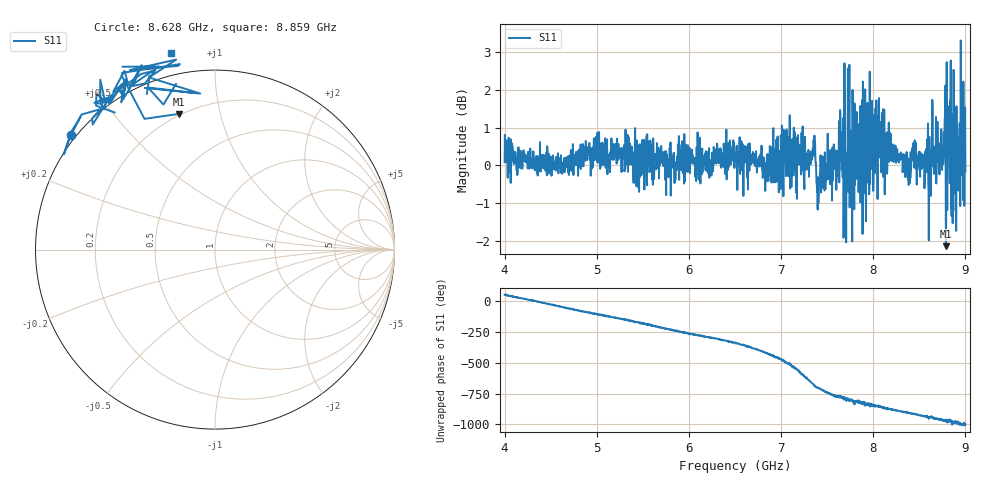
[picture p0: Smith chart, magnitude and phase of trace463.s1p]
! Created with skrf 1.8.0 (http://scikit-rf.org).
# Hz S RI R 50.0
!freq ReS11 ImS11
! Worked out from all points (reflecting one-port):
!   1601 points, 4 GHz to 9 GHz, reference 50 ohm
!   lowest |S11| = -2.1 dB at 8.788 GHz (marker M1), VSWR 8.19, Z = 9.61 + j37.5 ohm
!   phase of S11 starts at 51 deg and turns -1051 deg over the sweep
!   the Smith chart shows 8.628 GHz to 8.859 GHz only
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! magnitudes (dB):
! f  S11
! 4 GHz  0.1
! 4.625 GHz  -0.2
! 5.25 GHz  0.2
! 5.875 GHz  0.3
! 6.5 GHz  0.3
! 6.825 GHz  -0.1
! 7.125 GHz  0.3
! 7.269 GHz  0.3
! 7.353 GHz  0.7
! 7.409 GHz  -0.7
! 7.6 GHz  -0.6
! 7.65 GHz  0.7
! 7.75 GHz  -0.3
! 7.769 GHz  -0.9
! 7.8 GHz  -0.5
! 7.909 GHz  0.4
! 7.962 GHz  2.5
! 7.981 GHz  0.4
! 8.097 GHz  0.2
! 8.375 GHz  0.1
! 8.441 GHz  0.0
! 8.6 GHz  -0.6
! 8.656 GHz  0.0
! 8.788 GHz  -2.1
! 8.819 GHz  0.4
! 8.869 GHz  -1.2
! 8.972 GHz  0.6
! 9 GHz  -0.2
